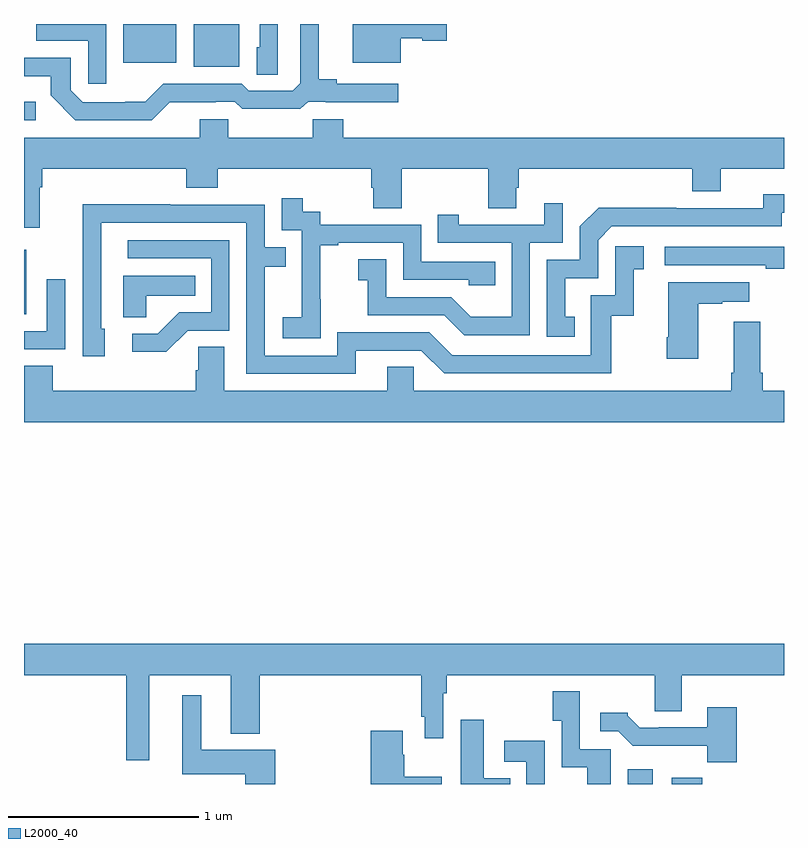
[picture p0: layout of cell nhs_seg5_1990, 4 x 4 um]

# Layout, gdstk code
import gdstk
lib = gdstk.Library(unit=1e-6, precision=1e-09)
def R(c, l, rs):  # rectangles x0, y0, x1, y1
    for r in rs: c.add(gdstk.rectangle(r[:2], r[2:], *l))
def P(c, l, *ps):  # polygons
    for p in ps: c.add(gdstk.Polygon(p, *l))
L2000_40 = (2000, 40)

nhs_seg5_1990 = lib.new_cell('nhs_seg5_1990')
R(nhs_seg5_1990, L2000_40, [(230.177,910.799,230.308,910.876), (230.408,910.799,230.57,910.831), (227,913.271,227.011,913.611), (227,914.292,227.062,914.389), (227.894,914.573,228.133,914.799), (227.522,914.594,227.8,914.799)])
P(nhs_seg5_1990, L2000_40, [(228.336,914.799),(228.24,914.799),(228.24,914.676),(228.224,914.676),(228.224,914.533),(228.336,914.533)],
  [(228.982,914.723),(229.095,914.723),(229.095,914.711),(229.225,914.711),(229.225,914.799),(228.731,914.799),(228.731,914.594),(228.982,914.594)],
  [(227.768,914.387),(228.008,914.387),(228.008,914.391),(228.108,914.391),(228.148,914.352),(228.455,914.352),(228.495,914.391),(228.589,914.391),(228.589,914.387),(228.97,914.387),(228.97,914.484),(228.646,914.484),(228.646,914.507),(228.551,914.507),(228.551,914.799),(228.453,914.799),(228.453,914.487),(228.414,914.448),(228.183,914.448),(228.147,914.484),(227.733,914.484),(227.639,914.39),(227.534,914.39),(227.534,914.388),(227.31,914.388),(227.247,914.451),(227.247,914.622),(227,914.622),(227,914.525),(227.14,914.525),(227.14,914.423),(227.27,914.292),(227.673,914.292)],
  [(227.433,914.799),(227.064,914.799),(227.064,914.712),(227.337,914.712),(227.337,914.484),(227.433,914.484)],
  [(227.083,913.94),(227.096,913.94),(227.096,914.036),(227.855,914.036),(227.855,913.937),(228.02,913.937),(228.02,914.036),(228.827,914.036),(228.827,913.938),(228.839,913.938),(228.839,913.828),(228.987,913.828),(228.987,914.036),(229.444,914.036),(229.444,913.828),(229.591,913.828),(229.591,913.938),(229.604,913.938),(229.604,914.036),(230.516,914.036),(230.516,913.919),(230.668,913.919),(230.668,914.036),(231,914.036),(231,914.2),(228.68,914.2),(228.68,914.298),(228.52,914.298),(228.52,914.2),(228.075,914.2),(228.075,914.298),(227.924,914.298),(227.924,914.2),(227,914.2),(227,913.727),(227.083,913.727)],
  [(229.898,913.257),(229.849,913.257),(229.849,913.461),(230.022,913.461),(230.022,913.662),(230.094,913.734),(230.988,913.734),(230.988,913.806),(231,913.806),(231,913.903),(230.892,913.903),(230.892,913.83),(230.432,913.83),(230.432,913.832),(230.024,913.832),(229.926,913.734),(229.926,913.557),(229.752,913.557),(229.752,913.152),(229.898,913.152)],
  [(228.561,913.351),(228.56,913.351),(228.56,913.635),(228.655,913.635),(228.655,913.647),(228.996,913.647),(228.996,913.452),(229.341,913.452),(229.341,913.425),(229.481,913.425),(229.481,913.548),(229.092,913.548),(229.092,913.743),(228.558,913.743),(228.558,913.812),(228.466,913.812),(228.466,913.882),(228.357,913.882),(228.357,913.713),(228.462,913.713),(228.462,913.484),(228.461,913.484),(228.461,913.255),(228.363,913.255),(228.363,913.145),(228.561,913.145)],
  [(229.662,913.647),(229.836,913.647),(229.836,913.855),(229.739,913.855),(229.739,913.743),(229.288,913.743),(229.288,913.795),(229.177,913.795),(229.177,913.647),(229.566,913.647),(229.566,913.258),(229.352,913.258),(229.248,913.362),(228.906,913.362),(228.906,913.561),(228.759,913.561),(228.759,913.451),(228.808,913.451),(228.808,913.266),(229.211,913.266),(229.316,913.161),(229.662,913.161)],
  [(228.745,913.08),(229.092,913.08),(229.212,912.96),(230.092,912.96),(230.092,913.263),(230.21,913.263),(230.21,913.509),(230.263,913.509),(230.263,913.63),(230.112,913.63),(230.112,913.371),(229.983,913.371),(229.983,913.056),(229.254,913.056),(229.134,913.176),(228.648,913.176),(228.648,913.053),(228.267,913.053),(228.267,913.522),(228.377,913.522),(228.377,913.623),(228.267,913.623),(228.267,913.848),(227.771,913.848),(227.771,913.85),(227.308,913.85),(227.308,913.543),(227.31,913.543),(227.31,913.05),(227.425,913.05),(227.425,913.194),(227.406,913.194),(227.406,913.752),(228.171,913.752),(228.171,912.957),(228.745,912.957)],
  [(227.862,913.185),(228.081,913.185),(228.081,913.662),(227.547,913.662),(227.547,913.566),(227.985,913.566),(227.985,913.281),(227.816,913.281),(227.705,913.17),(227.571,913.17),(227.571,913.073),(227.749,913.073)],
  [(231,913.626),(230.373,913.626),(230.373,913.53),(230.905,913.53),(230.905,913.51),(231,913.51)],
  [(227.643,913.37),(227.9,913.37),(227.9,913.474),(227.522,913.474),(227.522,913.255),(227.643,913.255)],
  [(227.217,913.456),(227.121,913.456),(227.121,913.182),(227,913.182),(227,913.086),(227.217,913.086)],
  [(230.548,913.327),(230.675,913.327),(230.675,913.337),(230.818,913.337),(230.818,913.441),(230.39,913.441),(230.39,913.15),(230.383,913.15),(230.383,913.038),(230.548,913.038)],
  [(231,912.868),(230.888,912.868),(230.888,912.964),(230.875,912.964),(230.875,913.231),(230.735,913.231),(230.735,912.964),(230.723,912.964),(230.723,912.868),(229.05,912.868),(229.05,912.995),(228.911,912.995),(228.911,912.868),(228.055,912.868),(228.055,913.1),(227.916,913.1),(227.916,912.977),(227.903,912.977),(227.903,912.868),(227.15,912.868),(227.15,913.001),(227,913.001),(227,912.704),(231,912.704)],
  [(227.659,911.372),(228.089,911.372),(228.089,911.063),(228.242,911.063),(228.242,911.372),(229.09,911.372),(229.09,911.152),(229.11,911.152),(229.11,911.04),(229.206,911.04),(229.206,911.276),(229.226,911.276),(229.226,911.372),(230.321,911.372),(230.321,911.182),(230.461,911.182),(230.461,911.372),(231,911.372),(231,911.536),(227,911.536),(227,911.372),(227.538,911.372),(227.538,910.923),(227.659,910.923)],
  [(230.089,910.983),(229.926,910.983),(229.926,911.287),(229.783,911.287),(229.783,911.131),(229.83,911.131),(229.83,910.886),(229.964,910.886),(229.964,910.799),(230.089,910.799)],
  [(228.323,910.978),(227.932,910.978),(227.932,911.266),(227.834,911.266),(227.834,910.85),(228.164,910.85),(228.164,910.799),(228.323,910.799)],
  [(230.75,911.203),(230.597,911.203),(230.597,911.097),(230.341,911.097),(230.341,911.094),(230.242,911.094),(230.178,911.158),(230.178,911.173),(230.034,911.173),(230.034,911.076),(230.127,911.076),(230.203,911),(230.595,911),(230.595,910.913),(230.75,910.913)],
  [(229.559,910.828),(229.42,910.828),(229.42,911.137),(229.298,911.137),(229.298,910.799),(229.559,910.799)],
  [(229.198,910.837),(229.002,910.837),(229.002,910.952),(228.994,910.952),(228.994,911.08),(228.824,911.08),(228.824,910.799),(229.198,910.799)],
  [(229.74,911.026),(229.527,911.026),(229.527,910.917),(229.644,910.917),(229.644,910.799),(229.74,910.799)])

lib.write_gds('nhs_seg5_1990.gds')
